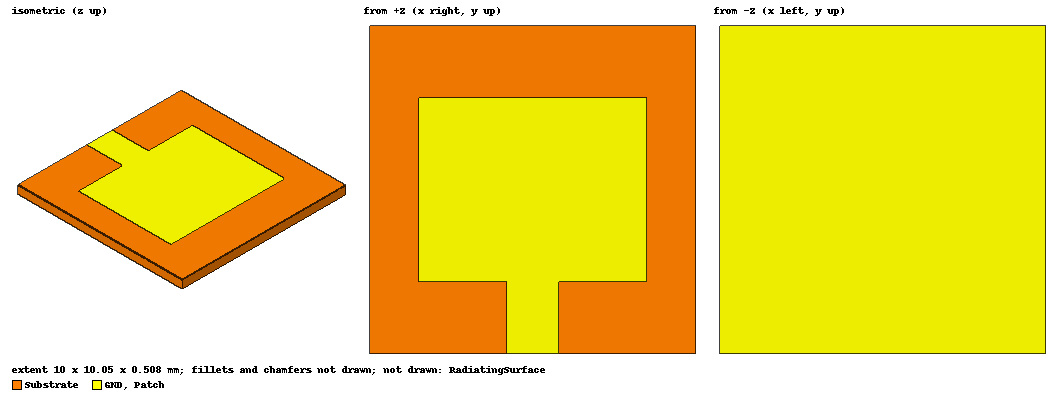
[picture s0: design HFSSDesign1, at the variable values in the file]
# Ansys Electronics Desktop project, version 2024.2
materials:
  vacuum: permittivity=1
  Rogers RT/duroid 5880 (tm): permittivity=2.2 dielectric_loss_tangent=0.0009

design HFSSDesign1 (HFSS, HFSS Terminal Network, model units mm)
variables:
  dL = 1mm
  Wp = 6.97mm
  Lp = 5.647mm
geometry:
  Patch = rectangle(corner=((-6.97/2) mm, (-5.647/2) mm, 0mm), x_size=Wp, y_size=Lp)
  50ohm = rectangle(corner=((-1.565/2) mm, (-5.647/2) mm, 0mm), x_size=1.565mm, y_size=-2.2mm)
  Substrate [Rogers RT/duroid 5880 (tm)] = box(corner=(-5mm, (-5.647/2-2.2) mm, 0mm), size=((5*2) mm, ((5.647/2+2.2)*2) mm, -0.508mm))
  GND = rectangle(corner=(-5mm, -5.0235mm, -0.508mm), x_size=10mm, y_size=10.047mm)
  P1 = rectangle(corner=(-0.7825mm, -5.0235mm, 0mm), z_size=-0.508mm, x_size=1.565mm)
  Patch.chamfer(Vertices=Patch.vertex(at (3.485, 2.8235, 0), at (-3.485, -2.8235, 0)) LeftDistance=dL RightDistance=dL ChamferType=Symmetric)
  Patch.unite(50ohm)
  RadiatingSurface [vacuum] = region(absolute_offset=5.8823529mm on all sides)
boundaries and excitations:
  PerfE1: Perfect E Objects=[Patch, GND]
  Open1: Radiation Objects=RadiatingSurface
  1: Lumped Port Objects=P1 LumpedPortType=Modal Modes{Mode1{IntLine{(0, -5.0235, -0.508) -> (0, -5.0235, 0)} CharImp=Zpi RenormImp=50ohm}} Impedance=50ohm
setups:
  Setup1: HfssDriven Frequency=17GHz MaxDeltaS=0.02 MaximumPasses=12 MinimumPasses=1 MinimumConvergedPasses=1 PercentRefinement=30 BasisOrder=1 PortAccuracy=2 DrivenSolverType="Direct Solver" VariablesForDerivatives(dL, Lp, Wp)
    sweep Sweep: 12GHz to 22GHz, 101 points; Type=Interpolating SaveFields InterpTolerance=0.5 InterpMaxSolns=250 PassivityErrorTolerance=0.0001
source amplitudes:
  1:1: 1V 0deg
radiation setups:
  3D: Infinite Sphere Theta=0deg..180deg step 2deg Phi=-180deg..180deg step 2deg
  Elevation: Infinite Sphere Theta=-180deg..180deg step 1deg Phi=0deg..90deg step 90deg
  Azimuth: Infinite Sphere Theta=90deg..90deg step 0deg Phi=-180deg..180deg step 1deg
  Infinite Sphere1: Infinite Sphere Theta=0deg..360deg step 5deg Phi=-180deg..180deg step 5deg
